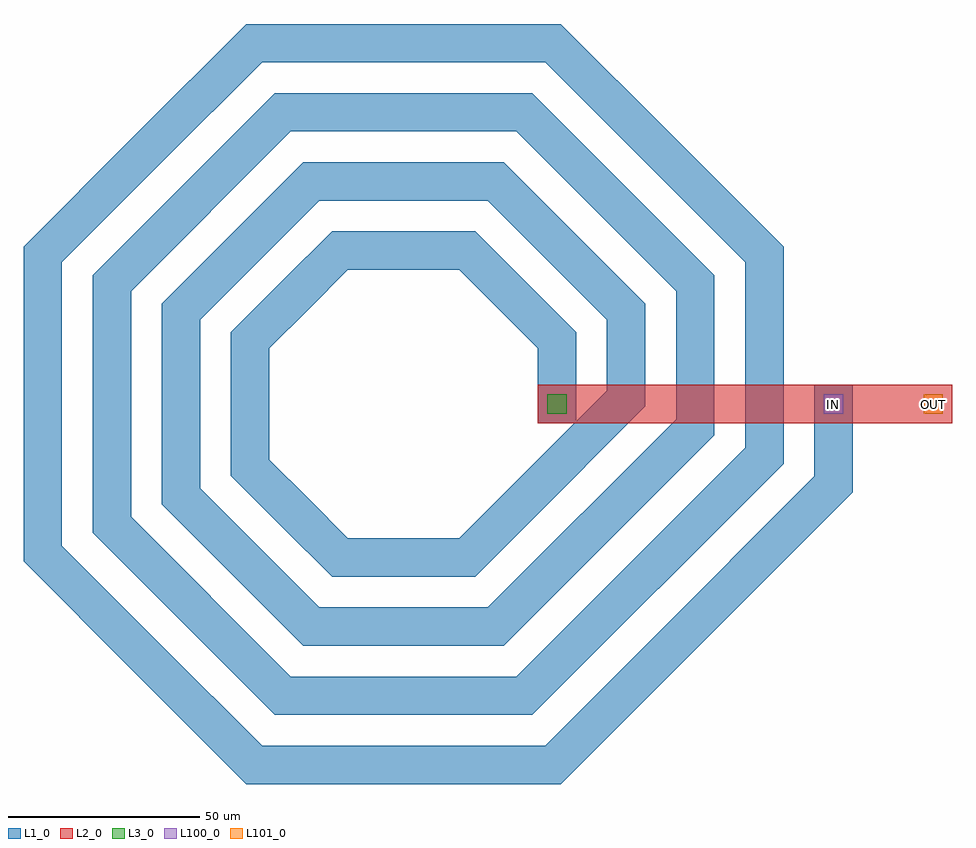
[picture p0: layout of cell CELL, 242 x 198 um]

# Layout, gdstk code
import gdstk
lib = gdstk.Library(unit=1e-6, precision=1e-09)
def R(c, l, rs):  # rectangles x0, y0, x1, y1
    for r in rs: c.add(gdstk.rectangle(r[:2], r[2:], *l))
L1_0 = (1, 0)
L2_0 = (2, 0)
L3_0 = (3, 0)
L100_0 = (100, 0)
L101_0 = (101, 0)

cell = lib.new_cell('CELL')
R(cell, L2_0, [(35,-5,143,5)])
R(cell, L3_0, [(37.5,-2.5,42.5,2.5)])
R(cell, L100_0, [(109.5,-2.5,114.5,2.5)])
R(cell, L101_0, [(135.5,-2.5,140.5,2.5)])
cell.add(gdstk.FlexPath([(40,0),(40,16.569),(28.284,28.284),(16.569,40),(-16.569,40),(-28.284,28.284),(-40,16.569),(-40,-16.569),(-28.284,-28.284),(-16.569,-40),(16.569,-40),(28.284,-28.284),(58,1.432),(58,24.024),(24.024,58),(-24.024,58),(-58,24.024),(-58,-24.024),(-24.024,-58),(24.024,-58),(76,-6.024),(76,31.48),(31.48,76),(-31.48,76),(-76,31.48),(-76,-31.48),(-31.48,-76),(31.48,-76),(94,-13.48),(94,38.936),(66.468,66.468),(38.936,94),(-38.936,94),(-66.468,66.468),(-94,38.936),(-94,-38.936),(-66.468,-66.468),(-38.936,-94),(38.936,-94),(66.468,-66.468),(112,-20.936),(112,0)], 10, ends="extended", simple_path=True, layer=1, datatype=0))  # L1_0
cell.add(gdstk.Label('IN', (112,0), layer=100, texttype=0))
cell.add(gdstk.Label('OUT', (138,0), layer=101, texttype=0))

lib.write_gds('CELL.gds')
